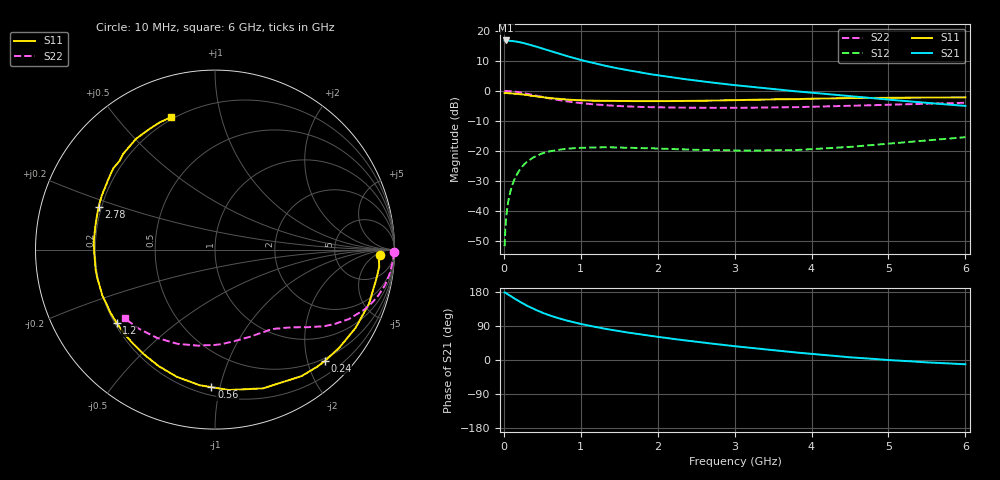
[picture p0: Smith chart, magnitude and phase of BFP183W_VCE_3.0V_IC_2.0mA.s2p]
! Infineon Technologies  Discrete & RF Semiconductors
! BFP183W
! VCE = 3.0 V,  IC =  2.0 mA
! Common Emitter S-Parameters:  Jan 2016
# GHz  S  MA  R  50
!  f  S11  S21  S12  S22
! GHz  MAG  ANG  MAG  ANG  MAG  ANG  MAG  ANG
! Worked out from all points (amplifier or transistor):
!   210 points, 10 MHz to 6 GHz, reference 50 ohm
!   highest |S21| = 16.8 dB at 30 MHz (marker M1)
!   |S21| within 3 dB of that: start of sweep to 540.8 MHz
!   unconditionally stable (mu >= 1): 2.354 GHz to end of sweep
!   at 185 MHz: K = 0.09, MSG = 21.7 dB, |S12| = -27.2 dB
!   at 1.52 GHz: K = 0.65, MSG = 13.1 dB, |S12| = -18.9 dB
!   at 6 GHz: K = 1.03, MAG = 4.1 dB, |S12| = -15.4 dB
!   S11 on the Smith chart (normalised r, x): 10 MHz: 20, -8; 240 MHz: 0.45, -2.31; 560 MHz: 0.25, -0.94; 1.2 GHz: 0.21, -0.32; 2.78 GHz: 0.19, +0.17; 6 GHz: 0.19, +0.70
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0.01  0.9176 -2.0  6.842 178.0  0.0026 91.2  0.9982 -0.9
0.02  0.9155 -3.9  6.839 177.6  0.0051 86.7  0.9921 -1.6
0.03  0.9199 -6.0  6.884 176.3  0.0077 88.1  0.9955 -2.5
0.075  0.9089 -14.5  6.801 170.5  0.0187 80.7  0.9864 -6.0
0.15  0.8967 -29.1  6.662 160.7  0.0365 73.1  0.9665 -12.0
0.2  0.8821 -38.3  6.473 154.6  0.047 68.1  0.9457 -15.6
0.24  0.8714 -45.5  6.31 150.3  0.0552 64.1  0.9265 -18.3
0.3  0.8541 -55.6  6.032 143.3  0.066 58.8  0.8944 -22.1
0.4  0.8181 -70.9  5.553 133.6  0.0801 50.6  0.8409 -27.4
0.5  0.7862 -84.3  5.063 124.8  0.091 44.1  0.7893 -31.5
0.56  0.7666 -91.5  4.789 120.5  0.0955 40.6  0.7618 -33.6
0.7  0.7401 -106.7  4.23 110.9  0.104 34.1  0.7054 -37.5
0.8  0.7211 -115.8  3.849 105.0  0.1081 30.0  0.6725 -40.0
1.02  0.6935 -132.2  3.211 94.4  0.1129 23.4  0.62 -44.3
1.2  0.6834 -143.4  2.82 86.8  0.1146 19.2  0.5915 -47.4
1.6  0.6743 -162.7  2.218 72.8  0.1132 14.3  0.5505 -53.4
2.02  0.6732 -178.4  1.799 60.6  0.1096 11.8  0.5317 -60.3
2.78  0.6908 159.9  1.338 41.5  0.1027 13.6  0.5205 -73.8
3.1  0.7016 152.1  1.206 34.3  0.1014 16.1  0.5221 -80.2
4.1  0.7418 132.0  0.907 14.6  0.1089 26.9  0.5458 -102.3
5.1  0.7657 117.7  0.696 -1.2  0.1348 34.2  0.5915 -125.5
6  0.7782 108.5  0.561 -11.3  0.1691 35.2  0.6329 -142.8
